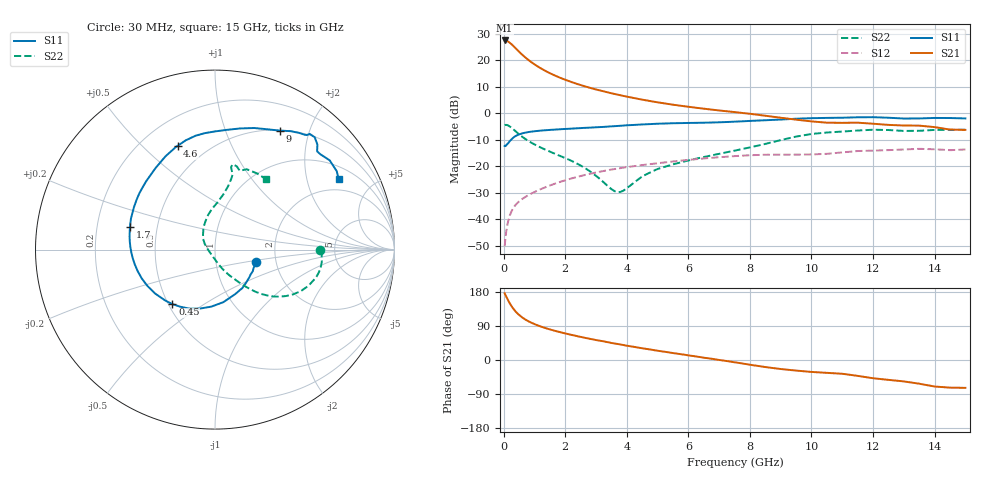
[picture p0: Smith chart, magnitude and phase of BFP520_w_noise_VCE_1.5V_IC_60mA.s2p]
! Infineon Technologies  Discrete & RF Semiconductors
! BFP520
! VCE =  1.5 V,  IC =  60 mA
! Common Emitter S-Parameters:  Oct 2015
# GHz  S  MA  R  50
!  f  S11  S21  S12  S22
! GHz  MAG  ANG  MAG  ANG  MAG  ANG  MAG  ANG
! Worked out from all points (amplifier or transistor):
!   109 points, 30 MHz to 15 GHz, reference 50 ohm
!   highest |S21| = 27.4 dB at 30 MHz (marker M1)
!   |S21| within 3 dB of that: start of sweep to 392 MHz
!   unconditionally stable (mu >= 1): start of sweep to end of sweep
!   at 450 MHz: K = 1.12, MAG = 26.6 dB, |S12| = -33.9 dB
!   at 4 GHz: K = 1.78, MAG = 8.1 dB, |S12| = -20.4 dB
!   at 15 GHz: K = 1.81, MAG = -1.5 dB, |S12| = -13.7 dB
!   lowest NFmin = 3.65 dB at 450 MHz
!   S11 on the Smith chart (normalised r, x): 30 MHz: 1.58, -0.23; 450 MHz: 0.52, -0.37; 1.7 GHz: 0.35, +0.11; 4.6 GHz: 0.35, +0.64; 9 GHz: 0.51, +1.57; 15 GHz: 1.49, +3.13
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0.03  0.2403 -17.0  23.38 176.1  0.0031 99.3  0.5878 -0.4
0.07  0.2421 -35.0  23.29 169.3  0.005 84.7  0.5987 -6.0
0.11  0.2577 -51.1  22.82 163.0  0.0073 78.2  0.5946 -11.2
0.15  0.2726 -66.0  22.15 156.5  0.0093 74.9  0.5811 -16.0
0.2  0.2966 -81.0  21.14 149.4  0.0118 70.9  0.5579 -21.3
0.25  0.3183 -93.6  19.96 142.7  0.0139 67.6  0.5306 -25.9
0.3  0.3393 -104.4  18.73 136.8  0.0158 65.1  0.5017 -29.8
0.45  0.3852 -128.0  15.3 122.7  0.0203 59.9  0.4221 -38.3
0.6  0.414 -143.8  12.63 112.4  0.024 57.5  0.3592 -43.6
0.7  0.4276 -151.8  11.22 107.0  0.0262 56.8  0.326 -46.1
0.9  0.4471 -164.4  9.106 98.4  0.0304 56.1  0.2763 -49.7
1.2  0.4667 -178.2  7.011 88.5  0.0367 55.6  0.2248 -53.8
1.7  0.49 165.3  4.998 76.2  0.0475 54.3  0.1682 -60.2
2.6  0.5254 143.3  3.237 59.2  0.0673 49.3  0.095 -73.2
3.7  0.5714 122.7  2.228 42.3  0.09 40.3  0.0323 -141.1
4.6  0.6142 109.8  1.75 29.7  0.1064 32.8  0.0684 148.6
5.1  0.6325 103.9  1.562 23.3  0.1151 28.8  0.092 135.9
7.6  0.693 77.1  1.029 -7.2  0.1556 6.1  0.2014 100.0
9  0.7554 61.3  0.817 -23.8  0.1646 -7.7  0.3096 81.5
10.5  0.8114 52.1  0.659 -33.9  0.1707 -15.1  0.4305 76.8
13  0.7894 43.9  0.583 -56.5  0.2061 -36.3  0.4608 72.7
15  0.7928 29.6  0.482 -73.5  0.2061 -52.6  0.4847 54.3
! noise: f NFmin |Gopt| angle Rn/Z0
0.45  3.65  0.26  -160  0.32
0.9  3.65  0.28  -151  0.34
1.9  3.9  0.37  -130  0.47
2.4  3.98  0.38  -127  0.44
3.5  4.15  0.37  -112  0.61
